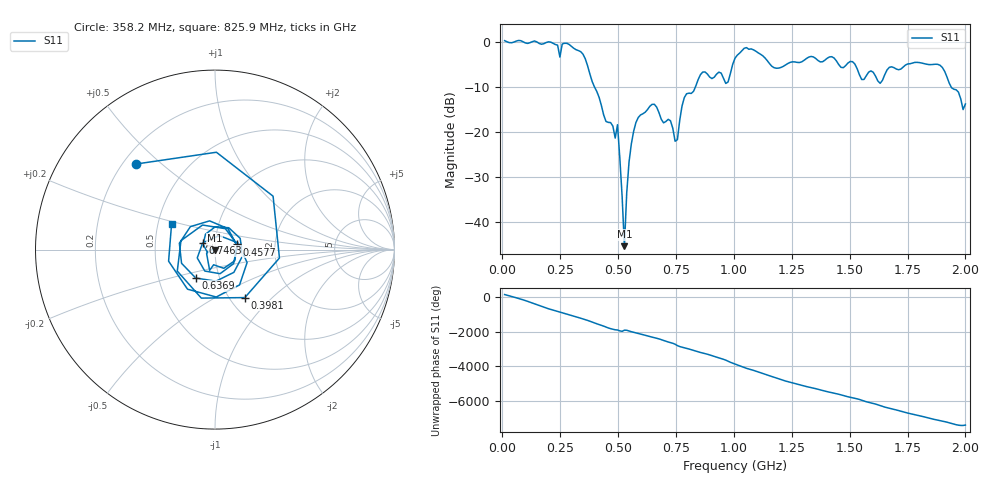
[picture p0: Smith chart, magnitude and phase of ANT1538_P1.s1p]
!Created with skrf (http://scikit-rf.org).
# Hz S RI R 50.0
!freq ReS11 ImS11
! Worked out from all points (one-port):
!   201 points, 10 MHz to 2 GHz, reference 50 ohm
!   lowest |S11| = -45.5 dB at 527.4 MHz (marker M1), VSWR 1.01, Z = 49.8 - j0.474 ohm
!   |S11| at or under -10 dB: 397.8 MHz to 834.3 MHz (436.6 MHz wide, 70.9 % of centre); 1.938 GHz to end of sweep
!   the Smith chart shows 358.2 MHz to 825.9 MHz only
!   S11 on the Smith chart (normalised r, x): 358.2 MHz: 0.25, +0.41; 398.1 MHz: 1.18, -0.70; 457.8 MHz: 1.28, +0.07; 636.9 MHz: 0.77, -0.25; 746.3 MHz: 0.87, +0.07; 825.9 MHz: 0.59, +0.18
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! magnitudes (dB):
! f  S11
! 10 MHz  0.3
! 209 MHz  -0.1
! 248.8 MHz  -3.4
! 258.8 MHz  -0.5
! 358.2 MHz  -3.8
! 398.1 MHz  -10.0
! 457.8 MHz  -17.9
! 487.6 MHz  -21.4
! 497.6 MHz  -18.5
! 507.5 MHz  -25.8
! 527.4 MHz  -45.5
! 547.3 MHz  -26.8
! 567.2 MHz  -19.9
! 636.9 MHz  -14.4
! 726.4 MHz  -17.6
! 746.3 MHz  -22.1
! 756.2 MHz  -21.8
! 786.1 MHz  -12.4
! 825.9 MHz  -11.0
! 865.7 MHz  -6.7
! 975.1 MHz  -8.9
! 1.005 GHz  -3.7
! 1.254 GHz  -4.5
! 1.502 GHz  -4.4
! 1.632 GHz  -9.2
! 1.751 GHz  -4.9
! 1.891 GHz  -5.2
! 2 GHz  -13.8
